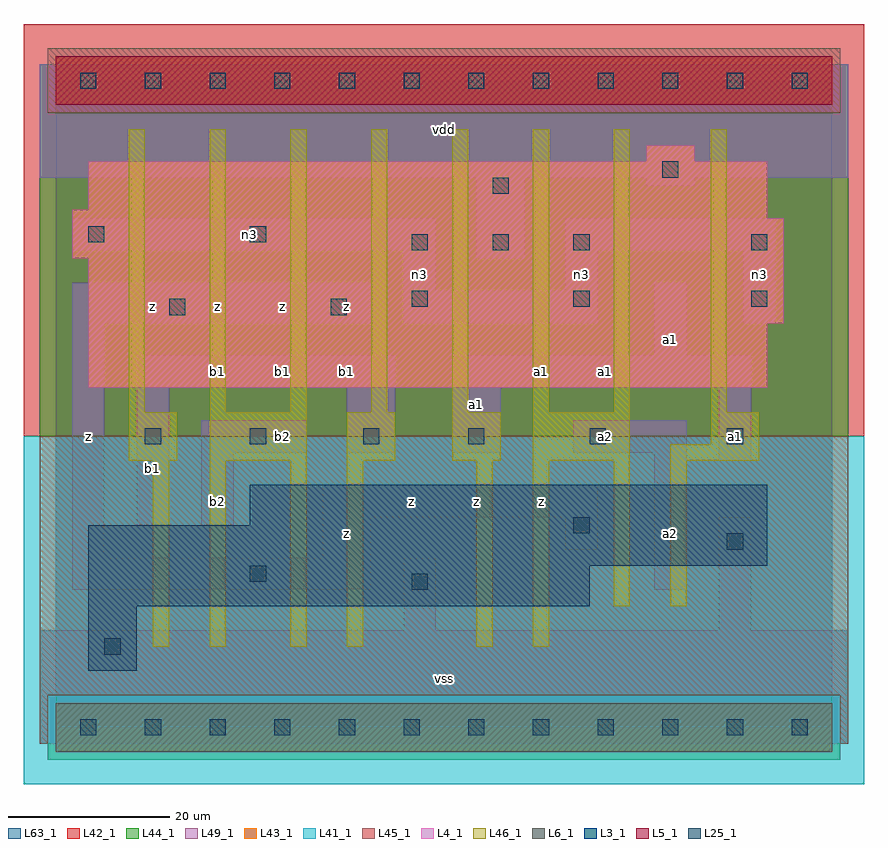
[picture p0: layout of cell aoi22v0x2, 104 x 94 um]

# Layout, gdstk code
import gdstk
lib = gdstk.Library(unit=1e-6, precision=1e-09)
def R(c, l, rs):  # rectangles x0, y0, x1, y1
    for r in rs: c.add(gdstk.rectangle(r[:2], r[2:], *l))
def A(c, l, x, y, w, h, nx, ny, dx, dy):  # array of equal rectangles
    R(c, l, [(x+i*dx, y+j*dy, x+i*dx+w, y+j*dy+h) for i in range(nx) for j in range(ny)])
L3_1 = (3, 1)
L4_1 = (4, 1)
L5_1 = (5, 1)
L6_1 = (6, 1)
L25_1 = (25, 1)
L41_1 = (41, 1)
L42_1 = (42, 1)
L43_1 = (43, 1)
L44_1 = (44, 1)
L45_1 = (45, 1)
L46_1 = (46, 1)
L49_1 = (49, 1)
L63_1 = (63, 1)

aoi22v0x2 = lib.new_cell('aoi22v0x2')
R(aoi22v0x2, L3_1, [(4,7,10,15), (4,15,66,20), (4,20,88,25), (24,25,88,30)])
R(aoi22v0x2, L4_1, [(4,42,88,50), (4,50,90,58), (2,58,90,63), (2,63,88,64), (4,64,88,70), (73,70,79,72)])
R(aoi22v0x2, L5_1, [(0,77,96,83)])
R(aoi22v0x2, L6_1, [(0,-3,96,3), (0,-3,96,3)])
A(aoi22v0x2, L25_1, 3, -1, 2, 2, 12, 2, 8, 80)
A(aoi22v0x2, L25_1, 44, 59, 2, 2, 3, 1, 10, 0)
R(aoi22v0x2, L25_1, [(6,9,8,11), (44,17,46,19), (24,18,26,20), (83,22,85,24), (64,24,66,26), (11,35,13,37), (24,35,26,37), (38,35,40,37), (51,35,53,37), (66,35,68,37), (83,35,85,37), (14,51,16,53), (34,51,36,53), (44,52,46,54), (64,52,66,54), (86,52,88,54), (86,59,88,61), (4,60,6,62), (24,60,26,62), (54,66,56,68), (75,68,77,70)])
R(aoi22v0x2, L41_1, [(-4,-7,100,36)])
R(aoi22v0x2, L42_1, [(-4,36,100,87)])
R(aoi22v0x2, L43_1, [(0,-3,96,3), (4,7,10,15), (4,15,66,20), (4,20,88,25), (24,25,88,30), (4,42,88,50), (4,50,90,58), (2,58,90,63), (2,63,88,64), (4,64,88,70), (73,70,79,72), (0,77,96,83)])
R(aoi22v0x2, L44_1, [(-1,-4,97,4), (-2,36,98,76), (-2,76,-1,82), (97,76,98,82)])
R(aoi22v0x2, L45_1, [(-2,-2,-1,4), (97,-2,98,4), (-2,4,98,36), (-1,76,97,84)])
A(aoi22v0x2, L46_1, 9, 39, 2, 35, 7, 1, 10, 0)
R(aoi22v0x2, L46_1, [(12,10,14,33), (19,10,21,33), (29,10,31,33), (36,10,38,33), (52,10,54,33), (59,10,61,33), (69,15,71,33), (76,15,78,33), (9,33,15,39), (19,33,31,39), (36,33,42,39), (49,33,55,39), (59,33,71,39), (76,33,87,35), (81,35,87,39), (81,39,83,74)])
R(aoi22v0x2, L49_1, [(-2,-2,98,12), (43,12,47,21), (82,12,86,26), (2,17,39,21), (74,17,78,34), (2,21,6,50), (33,21,39,26), (63,22,67,26), (10,25,14,42), (18,25,22,34), (33,26,67,30), (82,33,86,42), (18,34,31,38), (36,34,42,42), (49,34,55,42), (64,34,78,38), (10,42,42,46), (49,42,86,46), (74,46,78,55), (2,50,39,55), (43,50,67,54), (85,50,89,59), (43,54,47,59), (63,54,67,59), (52,58,58,68), (2,59,47,63), (63,59,89,63), (73,67,79,68), (-2,68,98,82)])
R(aoi22v0x2, L63_1, [(0,0,96,80)])
aoi22v0x2.add(gdstk.Label('b1', (12,32), layer=49, texttype=1))
aoi22v0x2.add(gdstk.Label('z', (4,36), layer=49, texttype=1))
aoi22v0x2.add(gdstk.Label('z', (12,52), layer=49, texttype=1))
aoi22v0x2.add(gdstk.Label('b2', (20,28), layer=49, texttype=1))
aoi22v0x2.add(gdstk.Label('b1', (20,44), layer=49, texttype=1))
aoi22v0x2.add(gdstk.Label('b2', (28,36), layer=49, texttype=1))
aoi22v0x2.add(gdstk.Label('b1', (28,44), layer=49, texttype=1))
aoi22v0x2.add(gdstk.Label('z', (28,52), layer=49, texttype=1))
aoi22v0x2.add(gdstk.Label('z', (20,52), layer=49, texttype=1))
aoi22v0x2.add(gdstk.Label('vss', (48,6), layer=49, texttype=1))
aoi22v0x2.add(gdstk.Label('z', (36,24), layer=49, texttype=1))
aoi22v0x2.add(gdstk.Label('z', (44,28), layer=49, texttype=1))
aoi22v0x2.add(gdstk.Label('z', (52,28), layer=49, texttype=1))
aoi22v0x2.add(gdstk.Label('b1', (36,44), layer=49, texttype=1))
aoi22v0x2.add(gdstk.Label('a1', (52,40), layer=49, texttype=1))
aoi22v0x2.add(gdstk.Label('n3', (45,56), layer=49, texttype=1))
aoi22v0x2.add(gdstk.Label('z', (36,52), layer=49, texttype=1))
aoi22v0x2.add(gdstk.Label('n3', (24,61), layer=49, texttype=1))
aoi22v0x2.add(gdstk.Label('vdd', (48,74), layer=49, texttype=1))
aoi22v0x2.add(gdstk.Label('z', (60,28), layer=49, texttype=1))
aoi22v0x2.add(gdstk.Label('a2', (76,24), layer=49, texttype=1))
aoi22v0x2.add(gdstk.Label('a1', (60,44), layer=49, texttype=1))
aoi22v0x2.add(gdstk.Label('a2', (68,36), layer=49, texttype=1))
aoi22v0x2.add(gdstk.Label('a1', (68,44), layer=49, texttype=1))
aoi22v0x2.add(gdstk.Label('a1', (76,48), layer=49, texttype=1))
aoi22v0x2.add(gdstk.Label('n3', (65,56), layer=49, texttype=1))
aoi22v0x2.add(gdstk.Label('a1', (84,36), layer=49, texttype=1))
aoi22v0x2.add(gdstk.Label('n3', (87,56), layer=49, texttype=1))

lib.write_gds('aoi22v0x2.gds')
